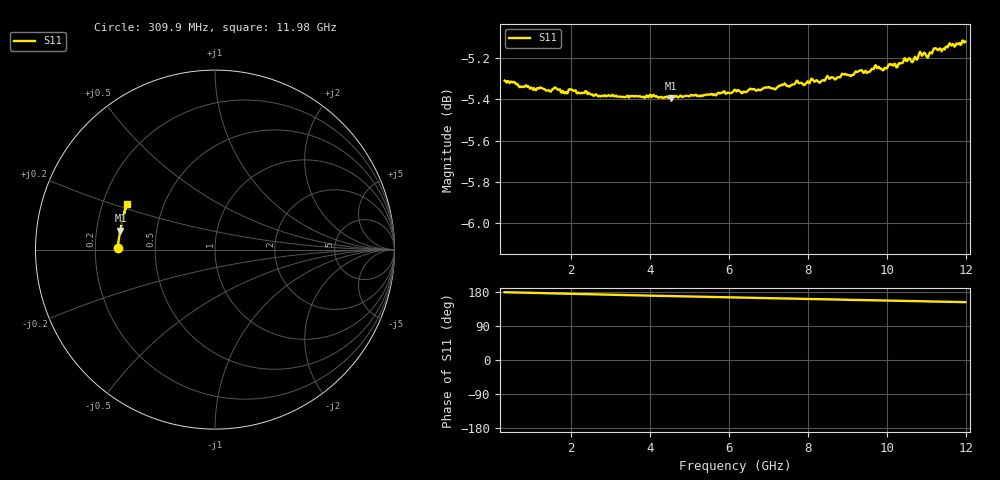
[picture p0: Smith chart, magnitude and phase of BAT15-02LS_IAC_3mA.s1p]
! Infineon Technologies  Discrete & RF Semiconductors
! BAT15-02ELS
! IAC = 3 mA
! One-Port S-Parameters
# Hz  S  MA  R  50
!f  S11
!Hz  Mag  Ang
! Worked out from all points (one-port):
!   468 points, 309.9 MHz to 11.98 GHz, reference 50 ohm
!   lowest |S11| = -5.4 dB at 4.533 GHz (marker M1), VSWR 3.32, Z = 15.2 + j4.49 ohm
!   |S11| at or under -10 dB: nowhere
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3.0985e8  0.5427 178.9
1.059475e9  0.5404 177.0
1.584212e9  0.5407 175.8
1.784112e9  0.5396 175.2
1.984012e9  0.54 174.8
3.233388e9  0.5379 171.7
4.532738e9  0.5374 168.7
4.70765e9  0.5376 168.3
6.156925e9  0.5399 165.1
7.481262e9  0.5412 162.2
7.6062e9  0.5415 161.9
7.831088e9  0.5421 161.5
8.030988e9  0.5419 160.9
8.2059e9  0.5429 160.7
8.4058e9  0.5427 160.2
8.580712e9  0.5438 159.9
8.780612e9  0.5438 159.3
8.90555e9  0.5446 159.2
9.080462e9  0.5441 158.8
9.730138e9  0.5466 157.4
9.930038e9  0.5466 156.8
1.052974e10  0.5492 155.6
1.08046e10  0.5509 155.0
1.097951e10  0.5506 154.9
1.112944e10  0.551 154.3
1.127936e10  0.5521 154.2
1.187906e10  0.554 152.8
1.197901e10  0.5547 152.7
